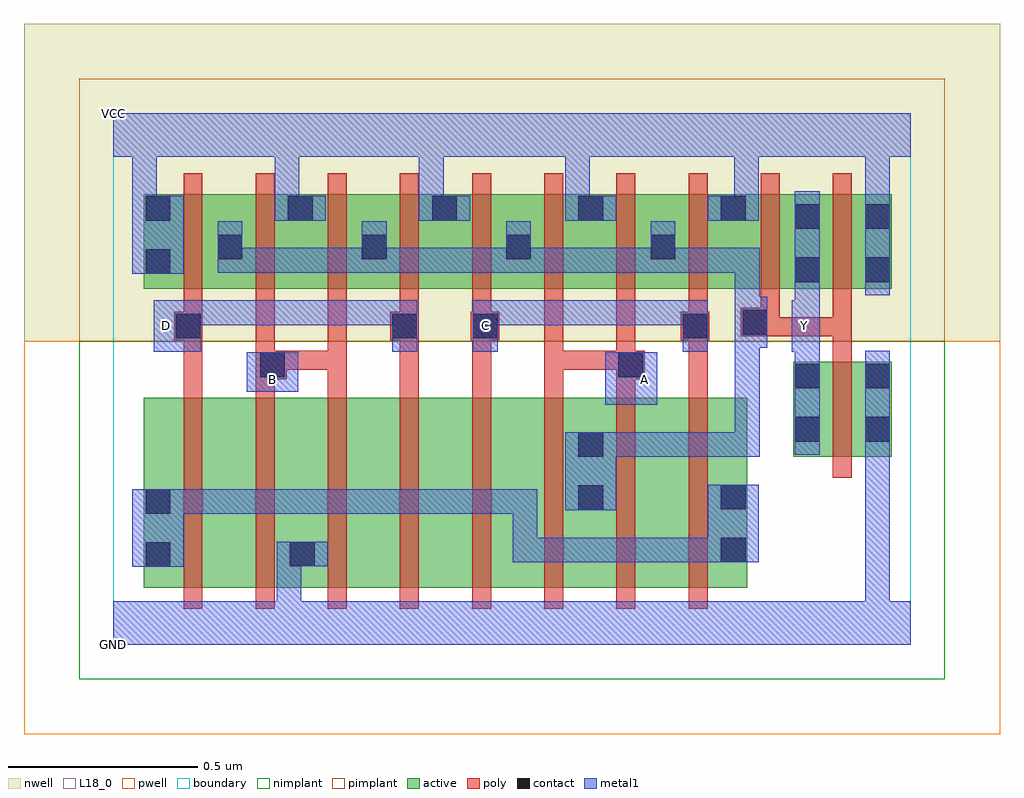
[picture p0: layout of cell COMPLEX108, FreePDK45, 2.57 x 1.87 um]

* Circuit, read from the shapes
.subckt COMPLEX108 A B C D GND VCC Y
M1 n1 D n2 VSUBS nfet w=0.5u l=0.05u
M2 GND B n1 VSUBS nfet w=0.5u l=0.05u
M3 n3 B GND VSUBS nfet w=0.5u l=0.05u
M4 n4 D n3 VSUBS nfet w=0.5u l=0.05u
M5 n5 C n4 VSUBS nfet w=0.5u l=0.05u
M6 n6 A n5 VSUBS nfet w=0.5u l=0.05u
M7 n7 A n6 VSUBS nfet w=0.5u l=0.05u
M8 n2 C n7 VSUBS nfet w=0.5u l=0.05u
M9 GND n6 Y VSUBS nfet w=0.25u l=0.05u
M10 n6 D VCC n8 pfet w=0.25u l=0.05u m=2
M11 VCC B n6 n8 pfet w=0.25u l=0.05u m=2
M12 n6 C VCC n8 pfet w=0.25u l=0.05u m=2
M13 VCC A n6 n8 pfet w=0.25u l=0.05u m=2
M14 Y n6 VCC n8 pfet w=0.25u l=0.05u m=2
.ends

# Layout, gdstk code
import gdstk
lib = gdstk.Library(unit=1e-6, precision=1e-09)
def R(c, l, rs):  # rectangles x0, y0, x1, y1
    for r in rs: c.add(gdstk.rectangle(r[:2], r[2:], *l))
def A(c, l, x, y, w, h, nx, ny, dx, dy):  # array of equal rectangles
    R(c, l, [(x+i*dx, y+j*dy, x+i*dx+w, y+j*dy+h) for i in range(nx) for j in range(ny)])
active = (1, 0)
pwell = (2, 0)
nwell = (3, 0)
nimplant = (4, 0)
pimplant = (5, 0)
poly = (9, 0)
contact = (10, 0)
metal1 = (11, 0)
L18_0 = (18, 0)
boundary = (235, 0)

complex108 = lib.new_cell('COMPLEX108')
A(complex108, active, 0.27, 0.937, 0.075, 0.168, 4, 1, 0.38, 0)
R(complex108, active, [(0.08,0.15,0.305,0.65), (0.305,0.15,0.535,0.65), (0.46,0.15,0.685,0.65), (0.685,0.15,0.875,0.65), (0.875,0.15,1.065,0.65), (1.065,0.15,1.295,0.65), (1.22,0.15,1.445,0.65), (1.445,0.15,1.67,0.65), (0.08,0.2,0.155,0.65), (1.595,0.2,1.67,0.65), (0.46,0.202,0.535,0.592), (1.22,0.245,1.295,0.592), (1.79,0.495,1.865,0.745), (1.79,0.495,2.05,0.745), (1.975,0.495,2.05,0.745), (0.08,0.937,0.155,1.187), (0.08,0.937,0.345,1.187), (0.27,0.937,0.53,1.187), (0.455,0.937,0.725,1.187), (0.65,0.937,0.91,1.187), (0.835,0.937,1.105,1.187), (1.03,0.937,1.295,1.187), (1.22,0.937,1.485,1.187), (1.41,0.937,1.67,1.187), (1.595,0.937,1.865,1.187), (1.79,0.937,1.865,1.187), (1.79,0.937,2.05,1.187), (1.975,0.937,2.05,1.187), (0.455,1.032,0.53,1.187), (1.22,1.032,1.295,1.187), (0.835,1.057,0.91,1.187), (1.595,1.057,1.67,1.187)])
R(complex108, pwell, [(-0.235,-0.235,2.335,0.8)])
R(complex108, nwell, [(-0.235,0.8,2.335,1.635)])
R(complex108, nimplant, [(-0.09,-0.09,2.19,0.8)])
R(complex108, pimplant, [(-0.09,0.8,2.19,1.49)])
A(complex108, poly, 0.185, 0.095, 0.05, 0.61, 8, 1, 0.19, 0)
A(complex108, poly, 0.185, 0.882, 0.05, 0.36, 10, 1, 0.19, 0)
R(complex108, poly, [(1.895,0.44,1.945,0.8), (0.185,0.655,0.235,0.852), (0.375,0.655,0.425,0.75), (0.565,0.655,0.615,0.775), (0.755,0.655,0.805,0.852), (0.945,0.655,0.995,0.852), (1.135,0.655,1.185,0.775), (1.325,0.655,1.375,0.75), (1.515,0.655,1.565,0.852), (0.375,0.7,0.457,0.775), (1.325,0.7,1.4,0.775), (0.375,0.725,0.425,0.775), (0.375,0.725,0.425,0.775), (0.375,0.725,0.425,0.932), (0.407,0.725,0.615,0.775), (0.565,0.725,0.615,0.775), (0.565,0.725,0.615,0.775), (0.565,0.725,0.615,0.775), (0.565,0.725,0.615,0.775), (0.565,0.725,0.615,0.775), (0.565,0.725,0.615,0.932), (1.135,0.725,1.185,0.775), (1.135,0.725,1.185,0.775), (1.135,0.725,1.185,0.775), (1.135,0.725,1.185,0.775), (1.135,0.725,1.185,0.775), (1.135,0.725,1.375,0.775), (1.135,0.725,1.185,0.932), (1.325,0.725,1.375,0.775), (1.325,0.725,1.375,0.775), (1.325,0.725,1.375,0.932), (1.895,0.75,1.945,0.862), (0.16,0.802,0.235,0.877), (0.185,0.802,0.235,0.852), (0.185,0.802,0.235,0.852), (0.73,0.802,0.805,0.877), (0.755,0.802,0.805,0.852), (0.755,0.802,0.805,0.852), (0.942,0.802,1.017,0.877), (0.945,0.802,0.995,0.852), (0.945,0.802,0.995,0.852), (1.495,0.802,1.57,0.877), (1.515,0.802,1.565,0.852), (1.515,0.802,1.565,0.852), (1.652,0.812,1.755,0.887), (1.705,0.812,1.945,0.862), (1.895,0.812,1.945,0.932), (1.895,0.812,1.945,0.862), (1.895,0.812,1.945,0.862), (1.895,0.812,1.945,0.862), (1.895,0.812,1.945,0.862), (1.895,0.812,1.945,0.862), (0.185,0.827,0.235,0.932), (0.755,0.827,0.805,0.932), (0.945,0.827,0.995,0.932), (1.515,0.827,1.565,0.932), (1.705,0.837,1.755,0.932)])
A(complex108, contact, 0.275, 1.015, 0.065, 0.065, 4, 1, 0.38, 0)
R(complex108, contact, [(0.085,0.205,0.15,0.27), (0.465,0.207,0.53,0.272), (1.6,0.217,1.665,0.282), (0.085,0.345,0.15,0.41), (1.225,0.355,1.29,0.42), (1.6,0.357,1.665,0.422), (1.225,0.495,1.29,0.56), (1.795,0.535,1.86,0.6), (1.98,0.535,2.045,0.6), (1.795,0.675,1.86,0.74), (1.98,0.675,2.045,0.74), (0.387,0.705,0.452,0.77), (1.33,0.705,1.395,0.77), (0.165,0.807,0.23,0.872), (0.735,0.807,0.8,0.872), (0.947,0.807,1.012,0.872), (1.5,0.807,1.565,0.872), (1.657,0.817,1.722,0.882), (1.795,0.955,1.86,1.02), (1.98,0.955,2.045,1.02), (0.085,0.977,0.15,1.042), (1.795,1.095,1.86,1.16), (1.98,1.095,2.045,1.16), (0.085,1.117,0.15,1.182), (0.46,1.117,0.525,1.182), (0.84,1.117,0.905,1.182), (1.225,1.117,1.29,1.182), (1.6,1.117,1.665,1.182)])
A(complex108, metal1, 0.275, 0.98, 0.065, 0.135, 4, 1, 0.38, 0)
R(complex108, metal1, [(0,0,2.1,0.115), (0.43,0.05,0.495,0.115), (0.43,0.05,0.495,0.115), (0.43,0.05,0.495,0.272), (1.98,0.05,2.045,0.115), (1.98,0.05,2.045,0.115), (1.98,0.05,2.045,0.565), (0.05,0.205,0.185,0.41), (0.43,0.207,0.565,0.272), (1.052,0.217,1.117,0.282), (1.052,0.217,1.15,0.282), (1.052,0.217,1.117,0.41), (1.085,0.217,1.15,0.282), (1.085,0.217,1.287,0.282), (1.222,0.217,1.287,0.282), (1.222,0.217,1.287,0.282), (1.222,0.217,1.287,0.282), (1.222,0.217,1.492,0.282), (1.427,0.217,1.492,0.282), (1.427,0.217,1.492,0.282), (1.427,0.217,1.492,0.282), (1.427,0.217,1.63,0.282), (1.565,0.217,1.7,0.422), (0.12,0.345,0.185,0.41), (0.12,0.345,0.185,0.41), (0.12,0.345,0.34,0.41), (0.275,0.345,0.34,0.41), (0.275,0.345,0.477,0.41), (0.412,0.345,0.477,0.41), (0.412,0.345,0.477,0.41), (0.412,0.345,0.477,0.41), (0.412,0.345,0.662,0.41), (0.597,0.345,0.662,0.41), (0.597,0.345,0.662,0.41), (0.597,0.345,0.662,0.41), (0.597,0.345,0.825,0.41), (0.76,0.345,0.825,0.41), (0.76,0.345,0.962,0.41), (0.897,0.345,0.962,0.41), (0.897,0.345,0.962,0.41), (0.897,0.345,0.962,0.41), (0.897,0.345,1.117,0.41), (1.052,0.345,1.117,0.41), (1.19,0.355,1.325,0.56), (1.26,0.495,1.325,0.56), (1.26,0.495,1.325,0.56), (1.26,0.495,1.462,0.56), (1.397,0.495,1.462,0.56), (1.397,0.495,1.462,0.56), (1.397,0.495,1.462,0.56), (1.397,0.495,1.702,0.56), (1.637,0.495,1.702,0.56), (1.637,0.495,1.702,0.847), (1.795,0.5,1.86,0.775), (1.98,0.5,2.045,0.565), (1.98,0.5,2.045,0.565), (1.98,0.5,2.045,0.565), (1.98,0.5,2.045,0.565), (1.98,0.5,2.045,0.775), (1.295,0.632,1.432,0.77), (0.352,0.667,0.487,0.77), (1.795,0.71,1.86,0.837), (0.107,0.772,0.23,0.907), (0.735,0.772,0.8,0.907), (0.947,0.772,1.012,0.907), (1.5,0.772,1.565,0.907), (1.787,0.772,1.86,0.907), (1.637,0.782,1.702,0.847), (1.637,0.782,1.702,0.847), (1.637,0.782,1.702,0.847), (1.637,0.782,1.722,0.847), (1.637,0.782,1.702,1.045), (1.657,0.782,1.722,0.917), (0.165,0.842,0.34,0.907), (0.275,0.842,0.34,0.907), (0.275,0.842,0.525,0.907), (0.46,0.842,0.525,0.907), (0.46,0.842,0.525,0.907), (0.46,0.842,0.525,0.907), (0.46,0.842,0.662,0.907), (0.597,0.842,0.662,0.907), (0.597,0.842,0.662,0.907), (0.597,0.842,0.662,0.907), (0.597,0.842,0.8,0.907), (0.947,0.842,1.117,0.907), (1.052,0.842,1.117,0.907), (1.052,0.842,1.15,0.907), (1.085,0.842,1.15,0.907), (1.085,0.842,1.325,0.907), (1.26,0.842,1.325,0.907), (1.26,0.842,1.325,0.907), (1.26,0.842,1.325,0.907), (1.26,0.842,1.462,0.907), (1.397,0.842,1.462,0.907), (1.397,0.842,1.565,0.907), (1.795,0.842,1.86,0.985), (1.795,0.92,1.86,0.985), (1.795,0.92,1.86,0.985), (1.795,0.92,1.86,1.195), (1.98,0.92,2.045,1.195), (0.05,0.977,0.185,1.182), (0.275,0.98,0.477,1.045), (0.412,0.98,0.477,1.045), (0.412,0.98,0.477,1.045), (0.412,0.98,0.477,1.045), (0.412,0.98,0.662,1.045), (0.597,0.98,0.662,1.045), (0.597,0.98,0.72,1.045), (0.655,0.98,0.8,1.045), (0.735,0.98,0.8,1.045), (0.735,0.98,0.962,1.045), (0.897,0.98,0.962,1.045), (0.897,0.98,0.962,1.045), (0.897,0.98,0.962,1.045), (0.897,0.98,1.1,1.045), (1.035,0.98,1.15,1.045), (1.085,0.98,1.15,1.045), (1.085,0.98,1.287,1.045), (1.222,0.98,1.287,1.045), (1.222,0.98,1.287,1.045), (1.222,0.98,1.287,1.045), (1.222,0.98,1.48,1.045), (1.415,0.98,1.48,1.045), (1.415,0.98,1.48,1.045), (1.415,0.98,1.702,1.045), (1.637,0.98,1.702,1.045), (0.05,1.117,0.115,1.182), (0.05,1.117,0.115,1.182), (0.05,1.117,0.115,1.35), (0.425,1.117,0.49,1.182), (0.425,1.117,0.49,1.182), (0.425,1.117,0.49,1.35), (0.425,1.117,0.56,1.182), (0.805,1.117,0.87,1.182), (0.805,1.117,0.87,1.182), (0.805,1.117,0.87,1.35), (0.805,1.117,0.94,1.182), (1.19,1.117,1.255,1.182), (1.19,1.117,1.255,1.182), (1.19,1.117,1.255,1.35), (1.19,1.117,1.325,1.182), (1.565,1.117,1.7,1.182), (1.635,1.117,1.7,1.35), (1.98,1.13,2.045,1.35), (0,1.285,2.1,1.4), (1.635,1.285,1.7,1.35), (1.635,1.285,1.7,1.35), (1.98,1.285,2.045,1.35), (1.98,1.285,2.045,1.35)])
A(complex108, L18_0, 0.107, 0.807, 0.065, 0.065, 3, 1, 0.84, 0)
R(complex108, L18_0, [(0,0,2.1,0.115), (0.43,0.05,0.495,0.115), (0.43,0.05,0.495,0.115), (0.43,0.05,0.495,0.272), (1.98,0.05,2.045,0.115), (1.98,0.05,2.045,0.115), (1.98,0.05,2.045,0.565), (0.43,0.207,0.565,0.272), (1.795,0.5,1.86,0.775), (1.98,0.5,2.045,0.565), (1.98,0.5,2.045,0.565), (1.98,0.5,2.045,0.565), (1.98,0.5,2.045,0.565), (1.98,0.5,2.045,0.775), (1.295,0.632,1.432,0.77), (0.352,0.667,0.487,0.77), (0.387,0.667,0.452,0.732), (1.367,0.667,1.432,0.732), (1.795,0.71,1.86,0.837), (0.107,0.772,0.23,0.907), (0.735,0.772,0.8,0.907), (0.947,0.772,1.012,0.907), (1.5,0.772,1.565,0.907), (1.787,0.772,1.86,0.907), (0.165,0.842,0.34,0.907), (0.275,0.842,0.34,0.907), (0.275,0.842,0.525,0.907), (0.46,0.842,0.525,0.907), (0.46,0.842,0.525,0.907), (0.46,0.842,0.525,0.907), (0.46,0.842,0.662,0.907), (0.597,0.842,0.662,0.907), (0.597,0.842,0.662,0.907), (0.597,0.842,0.662,0.907), (0.597,0.842,0.8,0.907), (0.947,0.842,1.117,0.907), (1.052,0.842,1.117,0.907), (1.052,0.842,1.15,0.907), (1.085,0.842,1.15,0.907), (1.085,0.842,1.325,0.907), (1.26,0.842,1.325,0.907), (1.26,0.842,1.325,0.907), (1.26,0.842,1.325,0.907), (1.26,0.842,1.462,0.907), (1.397,0.842,1.462,0.907), (1.397,0.842,1.565,0.907), (1.795,0.842,1.86,0.985), (1.795,0.92,1.86,0.985), (1.795,0.92,1.86,0.985), (1.795,0.92,1.86,1.195), (1.98,0.92,2.045,1.195), (0.05,0.977,0.185,1.182), (0.05,1.117,0.115,1.182), (0.05,1.117,0.115,1.182), (0.05,1.117,0.115,1.35), (0.425,1.117,0.49,1.182), (0.425,1.117,0.49,1.182), (0.425,1.117,0.49,1.35), (0.425,1.117,0.56,1.182), (0.805,1.117,0.87,1.182), (0.805,1.117,0.87,1.182), (0.805,1.117,0.87,1.35), (0.805,1.117,0.94,1.182), (1.19,1.117,1.255,1.182), (1.19,1.117,1.255,1.182), (1.19,1.117,1.255,1.35), (1.19,1.117,1.325,1.182), (1.565,1.117,1.7,1.182), (1.635,1.117,1.7,1.35), (1.98,1.13,2.045,1.35), (0,1.285,2.1,1.4), (1.635,1.285,1.7,1.35), (1.635,1.285,1.7,1.35), (1.98,1.285,2.045,1.35), (1.98,1.285,2.045,1.35)])
R(complex108, boundary, [(0,0,2.1,1.4)])
complex108.add(gdstk.Label('A', (1.4,0.7), layer=11, texttype=0))
complex108.add(gdstk.Label('B', (0.42,0.7), layer=11, texttype=0))
complex108.add(gdstk.Label('C', (0.98,0.84), layer=11, texttype=0))
complex108.add(gdstk.Label('D', (0.14,0.84), layer=11, texttype=0))
complex108.add(gdstk.Label('Y', (1.82,0.84), layer=11, texttype=0))
complex108.add(gdstk.Label('VCC', (0,1.4), layer=11, texttype=0))
complex108.add(gdstk.Label('GND', (0,0), layer=11, texttype=0))

lib.write_gds('COMPLEX108.gds')
